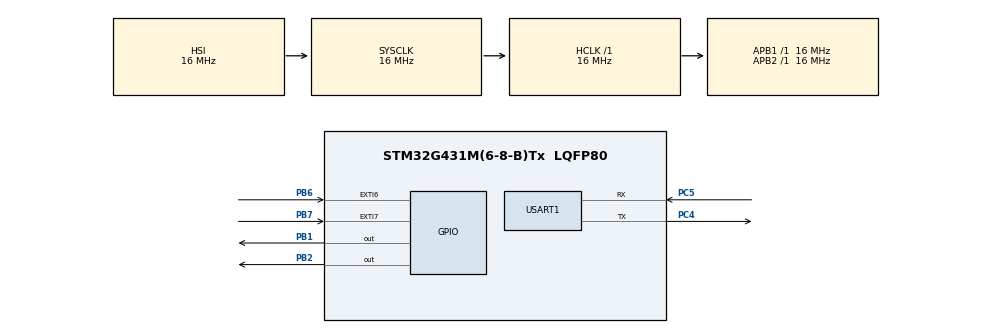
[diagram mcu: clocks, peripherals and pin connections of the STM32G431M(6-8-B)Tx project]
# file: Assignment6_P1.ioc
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Mcu.Family=STM32G4
Mcu.Name=STM32G431M(6-8-B)Tx
Mcu.Package=LQFP80
NVIC.EXTI9_5_IRQn=true\:0\:0\:false\:false\:true\:true\:true\:true
NVIC.PriorityGroup=NVIC_PRIORITYGROUP_4
PA13.Mode=Serial_Wire
PA13.Signal=SYS_JTMS-SWDIO
PA14.Mode=Serial_Wire
PA14.Signal=SYS_JTCK-SWCLK
PB1.PinState=GPIO_PIN_SET
PB1.Signal=GPIO_Output
PB2.PinState=GPIO_PIN_SET
PB2.Signal=GPIO_Output
PB6.GPIO_ModeDefaultEXTI=GPIO_MODE_IT_FALLING
PB6.GPIO_PuPd=GPIO_PULLUP
PB6.Signal=GPXTI6
PB7.GPIO_ModeDefaultEXTI=GPIO_MODE_IT_FALLING
PB7.GPIO_PuPd=GPIO_PULLUP
PB7.Signal=GPXTI7
PC4.Mode=Asynchronous
PC4.Signal=USART1_TX
PC5.Mode=Asynchronous
PC5.Signal=USART1_RX
ProjectManager.HeapSize=0x200
ProjectManager.StackSize=0x400
ProjectManager.TargetToolchain=STM32CubeIDE
RCC.AHBFreq_Value=16000000
RCC.APB1Freq_Value=16000000
RCC.APB1TimFreq_Value=16000000
RCC.APB2Freq_Value=16000000
RCC.APB2TimFreq_Value=16000000
RCC.CortexFreq_Value=16000000
RCC.EXTERNAL_CLOCK_VALUE=12288000
RCC.HCLKFreq_Value=16000000
RCC.HSE_VALUE=8000000
RCC.HSI48_VALUE=48000000
RCC.HSI_VALUE=16000000
RCC.LSE_VALUE=32768
RCC.SYSCLKFreq_VALUE=16000000
RCC.USBFreq_Value=64000000
RCC.VCOOutputFreq_Value=128000000
TIM3.Prescaler=15999
USART1.VirtualMode-Asynchronous=VM_ASYNC
VP_SYS_VS_DBSignals.Mode=DisableDeadBatterySignals
VP_TIM3_VS_ClockSourceINT.Mode=Internal
board=custom

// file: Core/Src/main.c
/* USER CODE BEGIN Header */
/**
  ******************************************************************************
  * @file           : main.c
  * @brief          : Main program body
  ******************************************************************************
  * @attention
  *
  * Copyright (c) 2025 STMicroelectronics.
  * All rights reserved.
  *
  * This software is licensed under terms that can be found in the LICENSE file
  * in the root directory of this software component.
  * If no LICENSE file comes with this software, it is provided AS-IS.
  *
  ******************************************************************************
  */
/* USER CODE END Header */
#include "main.h"

TIM_HandleTypeDef htim3;

UART_HandleTypeDef huart1;

void SystemClock_Config(void);
static void MX_GPIO_Init(void);
static void MX_TIM3_Init(void);
static void MX_USART1_UART_Init(void);

/* USER CODE BEGIN 0 */

//Function to call IRQ based on button pressed
void EXTI9_5_IRQnHandler(void)
{
  HAL_GPIO_EXTI_IRQHandler(GPIO_PIN_6); // Handle PB6
  HAL_GPIO_EXTI_IRQHandler(GPIO_PIN_7); // Handle PB7
}

void HAL_GPIO_EXTI_Callback(uint16_t GPIO_Pin){
	HAL_TIM_Base_Start(&htim3); //starts TIMER 3

	//below indicated if Button 1 is pressed using transmit
	if (GPIO_Pin == GPIO_PIN_7){
		HAL_UART_Transmit(&huart1, (uint8_t*)"Button 1 pressed \r\n", sizeof ("Button 1 pressed \r\n"), 100);
	}
	//below indicated if Button 2 is pressed using transmit
	else if(GPIO_Pin == GPIO_PIN_6){
		HAL_UART_Transmit(&huart1, (uint8_t*)"Button 2 pressed \r\n", sizeof ("Button 2 pressed \r\n"), 100);
	}

	while(1){

	//if button 1 is pressed, both LED’s toggle continuously with 1 second delay.
	if (GPIO_Pin == GPIO_PIN_7){
		if (__HAL_TIM_GET_COUNTER(&htim3) >= 1000) // If 1000ms elapsed since last reset
		{
		   HAL_GPIO_TogglePin(GPIOB, GPIO_PIN_1 | GPIO_PIN_2); // toggles both led
		   __HAL_TIM_SET_COUNTER(&htim3, 0); // Reset counter
		}
	}

	//if button 2 is pressed, both LED’s toggle continuously with 0.5 second delay.
	if (GPIO_Pin == GPIO_PIN_6){
		if (__HAL_TIM_GET_COUNTER(&htim3) >= 500) // If 500ms elapsed since last reset
		{
		HAL_GPIO_TogglePin(GPIOB, GPIO_PIN_1 | GPIO_PIN_2); //toggles both led
		__HAL_TIM_SET_COUNTER(&htim3, 0); // Reset counter
		}
	}
	EXTI9_5_IRQnHandler(); // Function call to get next button pressed
	}
}

/* USER CODE END 0 */

int main(void)
{

  /* MCU Configuration--------------------------------------------------------*/

  /* Reset of all peripherals, Initializes the Flash interface and the Systick. */
  HAL_Init();

  /* Configure the system clock */
  SystemClock_Config();

  /* Initialize all configured peripherals */
  MX_GPIO_Init();
  MX_TIM3_Init();
  MX_USART1_UART_Init();
  /* USER CODE BEGIN 2 */
//  HAL_TIM_Base_Start(&htim3);
  /* USER CODE END 2 */

  /* Infinite loop */
  while (1)
  {

  }
}

void SystemClock_Config(void)
{
  RCC_OscInitTypeDef RCC_OscInitStruct = {0};
  RCC_ClkInitTypeDef RCC_ClkInitStruct = {0};

  /** Configure the main internal regulator output voltage
  */
  HAL_PWREx_ControlVoltageScaling(PWR_REGULATOR_VOLTAGE_SCALE1);

  /** Initializes the RCC Oscillators according to the specified parameters
  * in the RCC_OscInitTypeDef structure.
  */
  RCC_OscInitStruct.OscillatorType = RCC_OSCILLATORTYPE_HSI;
  RCC_OscInitStruct.HSIState = RCC_HSI_ON;
  RCC_OscInitStruct.HSICalibrationValue = RCC_HSICALIBRATION_DEFAULT;
  RCC_OscInitStruct.PLL.PLLState = RCC_PLL_NONE;
  if (HAL_RCC_OscConfig(&RCC_OscInitStruct) != HAL_OK)
  {
    Error_Handler();
  }

  /** Initializes the CPU, AHB and APB buses clocks
  */
  RCC_ClkInitStruct.ClockType = RCC_CLOCKTYPE_HCLK|RCC_CLOCKTYPE_SYSCLK
                              |RCC_CLOCKTYPE_PCLK1|RCC_CLOCKTYPE_PCLK2;
  RCC_ClkInitStruct.SYSCLKSource = RCC_SYSCLKSOURCE_HSI;
  RCC_ClkInitStruct.AHBCLKDivider = RCC_SYSCLK_DIV1;
  RCC_ClkInitStruct.APB1CLKDivider = RCC_HCLK_DIV1;
  RCC_ClkInitStruct.APB2CLKDivider = RCC_HCLK_DIV1;

  if (HAL_RCC_ClockConfig(&RCC_ClkInitStruct, FLASH_LATENCY_0) != HAL_OK)
  {
    Error_Handler();
  }
}

static void MX_TIM3_Init(void)
{

  TIM_ClockConfigTypeDef sClockSourceConfig = {0};
  TIM_MasterConfigTypeDef sMasterConfig = {0};

  htim3.Instance = TIM3;
  htim3.Init.Prescaler = 15999;
  htim3.Init.CounterMode = TIM_COUNTERMODE_UP;
  htim3.Init.Period = 65535;
  htim3.Init.ClockDivision = TIM_CLOCKDIVISION_DIV1;
  htim3.Init.AutoReloadPreload = TIM_AUTORELOAD_PRELOAD_DISABLE;
  if (HAL_TIM_Base_Init(&htim3) != HAL_OK)
  {
    Error_Handler();
  }
  sClockSourceConfig.ClockSource = TIM_CLOCKSOURCE_INTERNAL;
  if (HAL_TIM_ConfigClockSource(&htim3, &sClockSourceConfig) != HAL_OK)
  {
    Error_Handler();
  }
  sMasterConfig.MasterOutputTrigger = TIM_TRGO_RESET;
  sMasterConfig.MasterSlaveMode = TIM_MASTERSLAVEMODE_DISABLE;
  if (HAL_TIMEx_MasterConfigSynchronization(&htim3, &sMasterConfig) != HAL_OK)
  {
    Error_Handler();
  }

}

static void MX_USART1_UART_Init(void)
{

  huart1.Instance = USART1;
  huart1.Init.BaudRate = 115200;
  huart1.Init.WordLength = UART_WORDLENGTH_8B;
  huart1.Init.StopBits = UART_STOPBITS_1;
  huart1.Init.Parity = UART_PARITY_NONE;
  huart1.Init.Mode = UART_MODE_TX_RX;
  huart1.Init.HwFlowCtl = UART_HWCONTROL_NONE;
  huart1.Init.OverSampling = UART_OVERSAMPLING_16;
  huart1.Init.OneBitSampling = UART_ONE_BIT_SAMPLE_DISABLE;
  huart1.Init.ClockPrescaler = UART_PRESCALER_DIV1;
  huart1.AdvancedInit.AdvFeatureInit = UART_ADVFEATURE_NO_INIT;
  if (HAL_UART_Init(&huart1) != HAL_OK)
  {
    Error_Handler();
  }
  if (HAL_UARTEx_SetTxFifoThreshold(&huart1, UART_TXFIFO_THRESHOLD_1_8) != HAL_OK)
  {
    Error_Handler();
  }
  if (HAL_UARTEx_SetRxFifoThreshold(&huart1, UART_RXFIFO_THRESHOLD_1_8) != HAL_OK)
  {
    Error_Handler();
  }
  if (HAL_UARTEx_DisableFifoMode(&huart1) != HAL_OK)
  {
    Error_Handler();
  }

}

static void MX_GPIO_Init(void)
{
  GPIO_InitTypeDef GPIO_InitStruct = {0};

  /* GPIO Ports Clock Enable */
  __HAL_RCC_GPIOC_CLK_ENABLE();
  __HAL_RCC_GPIOB_CLK_ENABLE();
  __HAL_RCC_GPIOA_CLK_ENABLE();

  /*Configure GPIO pin Output Level */
  HAL_GPIO_WritePin(GPIOB, GPIO_PIN_1|GPIO_PIN_2, GPIO_PIN_SET);

  /*Configure GPIO pins : PB1 PB2 */
  GPIO_InitStruct.Pin = GPIO_PIN_1|GPIO_PIN_2;
  GPIO_InitStruct.Mode = GPIO_MODE_OUTPUT_PP;
  GPIO_InitStruct.Pull = GPIO_NOPULL;
  GPIO_InitStruct.Speed = GPIO_SPEED_FREQ_LOW;
  HAL_GPIO_Init(GPIOB, &GPIO_InitStruct);

  /*Configure GPIO pins : PB6 PB7 */
  GPIO_InitStruct.Pin = GPIO_PIN_6|GPIO_PIN_7;
  GPIO_InitStruct.Mode = GPIO_MODE_IT_FALLING;
  GPIO_InitStruct.Pull = GPIO_PULLUP;
  HAL_GPIO_Init(GPIOB, &GPIO_InitStruct);

  /* EXTI interrupt init*/
  HAL_NVIC_SetPriority(EXTI9_5_IRQn, 0, 0);
  HAL_NVIC_EnableIRQ(EXTI9_5_IRQn);

}

void Error_Handler(void)
{
  __disable_irq();
  while (1)
  {
  }
}
